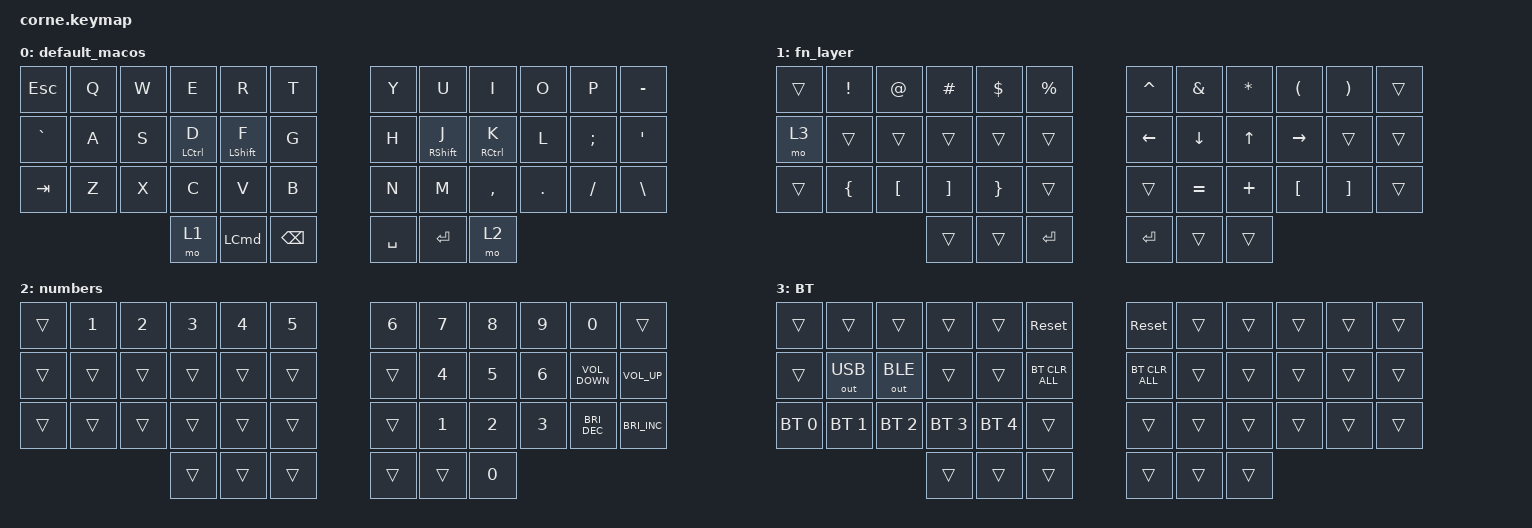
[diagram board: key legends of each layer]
/*
 * Copyright (c) 2020 The ZMK Contributors
 *
 * SPDX-License-Identifier: MIT
 */

#include <behaviors.dtsi>
#include <dt-bindings/zmk/bt.h>
#include <dt-bindings/zmk/keys.h>
#include <dt-bindings/zmk/outputs.h>

#define DEFAULT 0
#define LOWER   1
#define RAISE   2
#define TOP     3

/ {
    combos { compatible = "zmk,combos"; };

    behaviors {
        qq: qq {
            compatible = "zmk,behavior-mod-morph";
            label = "QQ";
            bindings = <&kp Q>, <&kp EXCLAMATION>;

            #binding-cells = <0>;
            mods = <(MOD_LCTL|MOD_LALT|MOD_LSFT|MOD_LGUI)>;
        };

        ww: ww {
            compatible = "zmk,behavior-mod-morph";
            label = "WW";
            bindings = <&kp W>, <&kp AT_SIGN>;

            #binding-cells = <0>;
            mods = <(MOD_LCTL|MOD_LALT|MOD_LSFT|MOD_LGUI)>;
        };

        ee: ee {
            compatible = "zmk,behavior-mod-morph";
            label = "EE";
            bindings = <&kp E>, <&kp HASH>;

            #binding-cells = <0>;
            mods = <(MOD_LCTL|MOD_LALT|MOD_LSFT|MOD_LGUI)>;
        };

        rr: rr {
            compatible = "zmk,behavior-mod-morph";
            label = "RR";
            bindings = <&kp R>, <&kp DOLLAR>;

            #binding-cells = <0>;
            mods = <(MOD_LCTL|MOD_LALT|MOD_LSFT|MOD_LGUI)>;
        };

        tt: tt {
            compatible = "zmk,behavior-mod-morph";
            label = "TT";
            bindings = <&kp T>, <&kp PERCENT>;

            #binding-cells = <0>;
            mods = <(MOD_LCTL|MOD_LALT|MOD_LSFT|MOD_LGUI)>;
        };

        yy: yy {
            compatible = "zmk,behavior-mod-morph";
            label = "YY";
            bindings = <&kp Y>, <&kp CARET>;

            #binding-cells = <0>;
            mods = <(MOD_LCTL|MOD_LALT|MOD_LSFT|MOD_LGUI)>;
        };

        uu: uu {
            compatible = "zmk,behavior-mod-morph";
            label = "UU";
            bindings = <&kp U>, <&kp AMPERSAND>;

            #binding-cells = <0>;
            mods = <(MOD_LCTL|MOD_LALT|MOD_LSFT|MOD_LGUI)>;
        };

        ii: ii {
            compatible = "zmk,behavior-mod-morph";
            label = "II";
            bindings = <&kp I>, <&kp ASTERISK>;

            #binding-cells = <0>;
            mods = <(MOD_LCTL|MOD_LALT|MOD_LSFT|MOD_LGUI)>;
        };

        oo: oo {
            compatible = "zmk,behavior-mod-morph";
            label = "OO";
            bindings = <&kp O>, <&kp LEFT_PARENTHESIS>;

            #binding-cells = <0>;
            mods = <(MOD_LCTL|MOD_LALT|MOD_LSFT|MOD_LGUI)>;
        };

        pp: pp {
            compatible = "zmk,behavior-mod-morph";
            label = "PP";
            bindings = <&kp P>, <&kp RIGHT_PARENTHESIS>;

            #binding-cells = <0>;
            mods = <(MOD_LCTL|MOD_LALT|MOD_LSFT|MOD_LGUI)>;
        };

        hml: home_row_mod_left {
            compatible = "zmk,behavior-hold-tap";
            bindings = <&kp>, <&kp>;

            #binding-cells = <2>;
            tapping-term-ms = <250>;
            quick-tap-ms = <175>;
            require-prior-idle-ms = <150>;
            flavor = "balanced";
            hold-trigger-key-positions = <39 40 41 6 7 8 9 10 11 18 19 20 21 22 23 30 31 32 33 34 35 39 40 41>;
            hold-trigger-on-release;
        };

        hmr: home_row_mod_right {
            compatible = "zmk,behavior-hold-tap";
            bindings = <&kp>, <&kp>;

            #binding-cells = <2>;
            tapping-term-ms = <250>;
            quick-tap-ms = <175>;
            require-prior-idle-ms = <150>;
            flavor = "balanced";
            hold-trigger-on-release;
            hold-trigger-key-positions = <0 1 2 3 4 5 12 13 14 15 16 17 24 25 26 27 28 29 36 37 38>;
        };
    };

    keymap {
        compatible = "zmk,keymap";

        default_macos {
            bindings = <
&kp ESCAPE  &kp Q  &kp W  &kp E                &kp R              &kp T            &kp Y      &kp U               &kp I                 &kp O    &kp P          &kp MINUS
&kp GRAVE   &kp A  &kp S  &hml LEFT_CONTROL D  &hml LEFT_SHIFT F  &kp G            &kp H      &hmr RIGHT_SHIFT J  &hmr RIGHT_CONTROL K  &kp L    &kp SEMICOLON  &kp SQT
&kp TAB     &kp Z  &kp X  &kp C                &kp V              &kp B            &kp N      &kp M               &kp COMMA             &kp DOT  &kp FSLH       &kp BACKSLASH
                          &mo 1                &kp LEFT_COMMAND   &kp BACKSPACE    &kp SPACE  &kp ENTER           &mo 2
            >;
        };

        fn_layer {
            bindings = <
&trans  &kp EXCLAMATION  &kp AT_SIGN       &kp POUND          &kp DOLLAR       &kp PERCENT    &kp CARET       &kp AMPERSAND  &kp ASTERISK  &kp LEFT_PARENTHESIS  &kp RIGHT_PARENTHESIS  &trans
&mo 3   &trans           &trans            &trans             &trans           &trans         &kp LEFT_ARROW  &kp DOWN       &kp UP_ARROW  &kp RIGHT             &trans                 &trans
&trans  &kp LEFT_BRACE   &kp LEFT_BRACKET  &kp RIGHT_BRACKET  &kp RIGHT_BRACE  &trans         &trans          &kp EQUAL      &kp PLUS      &kp LEFT_BRACKET      &kp RIGHT_BRACKET      &trans
                                           &trans             &trans           &kp ENTER      &kp ENTER       &trans         &trans
            >;
        };

        numbers {
            bindings = <
&trans  &kp N1  &kp N2  &kp N3  &kp N4  &kp N5    &kp N6  &kp N7  &kp N8  &kp N9  &kp N0                &trans
&trans  &trans  &trans  &trans  &trans  &trans    &trans  &kp N4  &kp N5  &kp N6  &kp C_VOLUME_DOWN     &kp C_VOLUME_UP
&trans  &trans  &trans  &trans  &trans  &trans    &trans  &kp N1  &kp N2  &kp N3  &kp C_BRIGHTNESS_DEC  &kp C_BRIGHTNESS_INC
                        &trans  &trans  &trans    &trans  &trans  &kp N0
            >;
        };

        BT {
            bindings = <
&trans        &trans        &trans        &trans        &trans        &sys_reset        &sys_reset      &trans  &trans  &trans  &trans  &trans
&trans        &out OUT_USB  &out OUT_BLE  &trans        &trans        &bt BT_CLR_ALL    &bt BT_CLR_ALL  &trans  &trans  &trans  &trans  &trans
&bt BT_SEL 0  &bt BT_SEL 1  &bt BT_SEL 2  &bt BT_SEL 3  &bt BT_SEL 4  &trans            &trans          &trans  &trans  &trans  &trans  &trans
                                          &trans        &trans        &trans            &trans          &trans  &trans
            >;
        };
    };

    conditional_layers { compatible = "zmk,conditional-layers"; };
};
